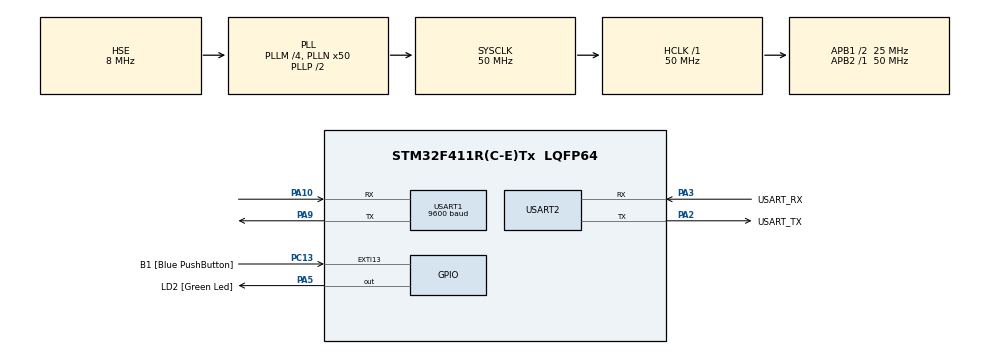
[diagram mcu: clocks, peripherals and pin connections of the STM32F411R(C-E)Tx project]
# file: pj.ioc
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Mcu.Family=STM32F4
Mcu.Name=STM32F411R(C-E)Tx
Mcu.Package=LQFP64
NVIC.PriorityGroup=NVIC_PRIORITYGROUP_0
PA10.Mode=Asynchronous
PA10.Signal=USART1_RX
PA13.GPIO_Label=TMS
PA13.Mode=Serial_Wire
PA13.Signal=SYS_JTMS-SWDIO
PA14.GPIO_Label=TCK
PA14.Mode=Serial_Wire
PA14.Signal=SYS_JTCK-SWCLK
PA2.GPIO_Label=USART_TX
PA2.Mode=Asynchronous
PA2.Signal=USART2_TX
PA3.GPIO_Label=USART_RX
PA3.Mode=Asynchronous
PA3.Signal=USART2_RX
PA5.GPIO_Label=LD2 [Green Led]
PA5.Signal=GPIO_Output
PA9.Mode=Asynchronous
PA9.Signal=USART1_TX
PB3.GPIO_Label=SWO
PB3.Signal=SYS_JTDO-SWO
PC13-ANTI_TAMP.GPIO_Label=B1 [Blue PushButton]
PC13-ANTI_TAMP.GPIO_ModeDefaultEXTI=GPIO_MODE_IT_FALLING
PC13-ANTI_TAMP.Signal=GPXTI13
PC14-OSC32_IN.Mode=LSE-External-Oscillator
PC14-OSC32_IN.Signal=RCC_OSC32_IN
PC15-OSC32_OUT.Mode=LSE-External-Oscillator
PC15-OSC32_OUT.Signal=RCC_OSC32_OUT
PH0\ -\ OSC_IN.Mode=HSE-External-Clock-Source
PH0\ -\ OSC_IN.Signal=RCC_OSC_IN
PH1\ -\ OSC_OUT.Mode=HSE-External-Clock-Source
PH1\ -\ OSC_OUT.Signal=RCC_OSC_OUT
ProjectManager.HeapSize=0x200
ProjectManager.StackSize=0x400
ProjectManager.TargetToolchain=STM32CubeIDE
RCC.48MHZClocksFreq_Value=25000000
RCC.AHBFreq_Value=50000000
RCC.APB1CLKDivider=RCC_HCLK_DIV2
RCC.APB1Freq_Value=25000000
RCC.APB1TimFreq_Value=50000000
RCC.APB2Freq_Value=50000000
RCC.APB2TimFreq_Value=50000000
RCC.CortexFreq_Value=50000000
RCC.FLatency-AdvancedSettings=FLASH_LATENCY_1
RCC.HCLKFreq_Value=50000000
RCC.HSE_VALUE=8000000
RCC.HSI_VALUE=16000000
RCC.PLLM=4
RCC.PLLN=50
RCC.PLLSourceVirtual=RCC_PLLSOURCE_HSE
RCC.SYSCLKFreq_VALUE=50000000
RCC.SYSCLKSource=RCC_SYSCLKSOURCE_PLLCLK
RCC.VCOOutputFreq_Value=100000000
TIM4.Period=0xffff-1
TIM4.Prescaler=50-1
USART1.BaudRate=9600
USART1.VirtualMode=VM_ASYNC
USART2.VirtualMode=VM_ASYNC
VP_TIM4_VS_ClockSourceINT.Mode=Internal
board=NUCLEO-F411RE

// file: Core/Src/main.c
/* USER CODE BEGIN Header */
/**
  ******************************************************************************
  * @file           : main.c
  * @brief          : Main program body
  ******************************************************************************
  * @attention
  *
  * Copyright (c) 2022 STMicroelectronics.
  * All rights reserved.
  *
  * This software is licensed under terms that can be found in the LICENSE file
  * in the root directory of this software component.
  * If no LICENSE file comes with this software, it is provided AS-IS.
  *
  ******************************************************************************
  */
/* USER CODE END Header */
#include "main.h"

/* USER CODE BEGIN Includes */
#include "stdio.h"
/* USER CODE END Includes */

TIM_HandleTypeDef htim4;

UART_HandleTypeDef huart1;
UART_HandleTypeDef huart2;

void SystemClock_Config(void);
static void MX_GPIO_Init(void);
static void MX_USART2_UART_Init(void);
static void MX_TIM4_Init(void);
static void MX_USART1_UART_Init(void);

/* USER CODE BEGIN 0 */
void delay (uint16_t time) {
	__HAL_TIM_SET_COUNTER(&htim4, 0);
	while ((__HAL_TIM_GET_COUNTER(&htim4))<time);
}

char str[10] = {0};

void Display_Rh (int Rh) {
	sprintf (str, "A%d\r\n", Rh);
	HAL_UART_Transmit(&huart2, str, strlen(str), 1000);
	HAL_UART_Transmit(&huart1, str, strlen(str), 1000);
}

uint8_t Rh_byte1, Rh_byte2, Temp_byte1, Temp_byte2;
uint16_t SUM, RH;

float Temperature = 0;
float Humidity = 0;
uint8_t Presence = 0;

void Set_Pin_Output (GPIO_TypeDef *GPIOx, uint16_t GPIO_Pin) {
	GPIO_InitTypeDef GPIO_InitStruct = {0};
	GPIO_InitStruct.Pin = GPIO_Pin;
	GPIO_InitStruct.Mode = GPIO_MODE_OUTPUT_PP;
	GPIO_InitStruct.Speed = GPIO_SPEED_FREQ_LOW;
	HAL_GPIO_Init(GPIOx, &GPIO_InitStruct);
}

void Set_Pin_Input (GPIO_TypeDef *GPIOx, uint16_t GPIO_Pin) {
	GPIO_InitTypeDef GPIO_InitStruct = {0};
	GPIO_InitStruct.Pin = GPIO_Pin;
	GPIO_InitStruct.Mode = GPIO_MODE_INPUT;
	GPIO_InitStruct.Pull = GPIO_PULLUP;
	HAL_GPIO_Init(GPIOx, &GPIO_InitStruct);
}

#define DHT11_PORT GPIOA
#define DHT11_PIN GPIO_PIN_1

void DHT11_Start (void) {
	Set_Pin_Output (DHT11_PORT, DHT11_PIN);  // set the pin as output
	HAL_GPIO_WritePin (DHT11_PORT, DHT11_PIN, 0);   // pull the pin low
	delay(18000);   // wait for 18ms
    HAL_GPIO_WritePin (DHT11_PORT, DHT11_PIN, 1);   // pull the pin high
	delay (20);  // wait for 20us
	Set_Pin_Input(DHT11_PORT, DHT11_PIN);    // set as input
}

uint8_t DHT11_Check_Response (void) {
	uint8_t Response = 0;
	delay (40);
	if (!(HAL_GPIO_ReadPin (DHT11_PORT, DHT11_PIN))) {
		delay (80);
		if ((HAL_GPIO_ReadPin (DHT11_PORT, DHT11_PIN))) Response = 1;
		else Response = -1; // 255
	}
	while ((HAL_GPIO_ReadPin (DHT11_PORT, DHT11_PIN)));   // wait for the pin to go low
	return Response;
}

uint8_t DHT11_Read (void) {
	uint8_t i,j;
	for (j=0;j<8;j++) {
		while (!(HAL_GPIO_ReadPin (DHT11_PORT, DHT11_PIN)));   // wait for the pin to go high
		delay (40);   // wait for 40 us
		if (!(HAL_GPIO_ReadPin (DHT11_PORT, DHT11_PIN))) {   // if the pin is low
			i&= ~(1<<(7-j));   // write 0
		}
		else i|= (1<<(7-j));  // if the pin is high, write 1
		while ((HAL_GPIO_ReadPin (DHT11_PORT, DHT11_PIN)));  // wait for the pin to go low
	}
	return i;
}
/* USER CODE END 0 */

int main(void)
{

  /* MCU Configuration--------------------------------------------------------*/

  /* Reset of all peripherals, Initializes the Flash interface and the Systick. */
  HAL_Init();

  /* Configure the system clock */
  SystemClock_Config();

  /* Initialize all configured peripherals */
  MX_GPIO_Init();
  MX_USART2_UART_Init();
  MX_TIM4_Init();
  MX_USART1_UART_Init();
  /* USER CODE BEGIN 2 */
  HAL_TIM_Base_Start(&htim4);
  /* USER CODE END 2 */

  /* Infinite loop */
  while (1)
  {

    /* USER CODE BEGIN 3 */
	  	  Display_Rh(RH);

	  	  DHT11_Start();
	  	  Presence = DHT11_Check_Response();
	  	  Rh_byte1 = DHT11_Read ();
	  	  Rh_byte2 = DHT11_Read ();
	  	  Temp_byte1 = DHT11_Read ();
	  	  Temp_byte2 = DHT11_Read ();
	  	  SUM = DHT11_Read();

	  	  RH = Rh_byte1;

	  	  HAL_Delay(1000);
  }
  /* USER CODE END 3 */
}

void SystemClock_Config(void)
{
  RCC_OscInitTypeDef RCC_OscInitStruct = {0};
  RCC_ClkInitTypeDef RCC_ClkInitStruct = {0};

  /** Configure the main internal regulator output voltage
  */
  __HAL_RCC_PWR_CLK_ENABLE();
  __HAL_PWR_VOLTAGESCALING_CONFIG(PWR_REGULATOR_VOLTAGE_SCALE1);
  /** Initializes the RCC Oscillators according to the specified parameters
  * in the RCC_OscInitTypeDef structure.
  */
  RCC_OscInitStruct.OscillatorType = RCC_OSCILLATORTYPE_HSE;
  RCC_OscInitStruct.HSEState = RCC_HSE_BYPASS;
  RCC_OscInitStruct.PLL.PLLState = RCC_PLL_ON;
  RCC_OscInitStruct.PLL.PLLSource = RCC_PLLSOURCE_HSE;
  RCC_OscInitStruct.PLL.PLLM = 4;
  RCC_OscInitStruct.PLL.PLLN = 50;
  RCC_OscInitStruct.PLL.PLLP = RCC_PLLP_DIV2;
  RCC_OscInitStruct.PLL.PLLQ = 4;
  if (HAL_RCC_OscConfig(&RCC_OscInitStruct) != HAL_OK)
  {
    Error_Handler();
  }
  /** Initializes the CPU, AHB and APB buses clocks
  */
  RCC_ClkInitStruct.ClockType = RCC_CLOCKTYPE_HCLK|RCC_CLOCKTYPE_SYSCLK
                              |RCC_CLOCKTYPE_PCLK1|RCC_CLOCKTYPE_PCLK2;
  RCC_ClkInitStruct.SYSCLKSource = RCC_SYSCLKSOURCE_PLLCLK;
  RCC_ClkInitStruct.AHBCLKDivider = RCC_SYSCLK_DIV1;
  RCC_ClkInitStruct.APB1CLKDivider = RCC_HCLK_DIV2;
  RCC_ClkInitStruct.APB2CLKDivider = RCC_HCLK_DIV1;

  if (HAL_RCC_ClockConfig(&RCC_ClkInitStruct, FLASH_LATENCY_1) != HAL_OK)
  {
    Error_Handler();
  }
}

static void MX_TIM4_Init(void)
{

  TIM_ClockConfigTypeDef sClockSourceConfig = {0};
  TIM_MasterConfigTypeDef sMasterConfig = {0};

  htim4.Instance = TIM4;
  htim4.Init.Prescaler = 50-1;
  htim4.Init.CounterMode = TIM_COUNTERMODE_UP;
  htim4.Init.Period = 0xffff-1;
  htim4.Init.ClockDivision = TIM_CLOCKDIVISION_DIV1;
  htim4.Init.AutoReloadPreload = TIM_AUTORELOAD_PRELOAD_DISABLE;
  if (HAL_TIM_Base_Init(&htim4) != HAL_OK)
  {
    Error_Handler();
  }
  sClockSourceConfig.ClockSource = TIM_CLOCKSOURCE_INTERNAL;
  if (HAL_TIM_ConfigClockSource(&htim4, &sClockSourceConfig) != HAL_OK)
  {
    Error_Handler();
  }
  sMasterConfig.MasterOutputTrigger = TIM_TRGO_RESET;
  sMasterConfig.MasterSlaveMode = TIM_MASTERSLAVEMODE_DISABLE;
  if (HAL_TIMEx_MasterConfigSynchronization(&htim4, &sMasterConfig) != HAL_OK)
  {
    Error_Handler();
  }

}

static void MX_USART1_UART_Init(void)
{

  huart1.Instance = USART1;
  huart1.Init.BaudRate = 9600;
  huart1.Init.WordLength = UART_WORDLENGTH_8B;
  huart1.Init.StopBits = UART_STOPBITS_1;
  huart1.Init.Parity = UART_PARITY_NONE;
  huart1.Init.Mode = UART_MODE_TX_RX;
  huart1.Init.HwFlowCtl = UART_HWCONTROL_NONE;
  huart1.Init.OverSampling = UART_OVERSAMPLING_16;
  if (HAL_UART_Init(&huart1) != HAL_OK)
  {
    Error_Handler();
  }

}

static void MX_USART2_UART_Init(void)
{

  huart2.Instance = USART2;
  huart2.Init.BaudRate = 115200;
  huart2.Init.WordLength = UART_WORDLENGTH_8B;
  huart2.Init.StopBits = UART_STOPBITS_1;
  huart2.Init.Parity = UART_PARITY_NONE;
  huart2.Init.Mode = UART_MODE_TX_RX;
  huart2.Init.HwFlowCtl = UART_HWCONTROL_NONE;
  huart2.Init.OverSampling = UART_OVERSAMPLING_16;
  if (HAL_UART_Init(&huart2) != HAL_OK)
  {
    Error_Handler();
  }

}

static void MX_GPIO_Init(void)
{
  GPIO_InitTypeDef GPIO_InitStruct = {0};

  /* GPIO Ports Clock Enable */
  __HAL_RCC_GPIOC_CLK_ENABLE();
  __HAL_RCC_GPIOH_CLK_ENABLE();
  __HAL_RCC_GPIOA_CLK_ENABLE();
  __HAL_RCC_GPIOB_CLK_ENABLE();

  /*Configure GPIO pin Output Level */
  HAL_GPIO_WritePin(LD2_GPIO_Port, LD2_Pin, GPIO_PIN_RESET);

  /*Configure GPIO pin : B1_Pin */
  GPIO_InitStruct.Pin = B1_Pin;
  GPIO_InitStruct.Mode = GPIO_MODE_IT_FALLING;
  GPIO_InitStruct.Pull = GPIO_NOPULL;
  HAL_GPIO_Init(B1_GPIO_Port, &GPIO_InitStruct);

  /*Configure GPIO pin : LD2_Pin */
  GPIO_InitStruct.Pin = LD2_Pin;
  GPIO_InitStruct.Mode = GPIO_MODE_OUTPUT_PP;
  GPIO_InitStruct.Pull = GPIO_NOPULL;
  GPIO_InitStruct.Speed = GPIO_SPEED_FREQ_LOW;
  HAL_GPIO_Init(LD2_GPIO_Port, &GPIO_InitStruct);

}

void Error_Handler(void)
{
  __disable_irq();
  while (1)
  {
  }
}
